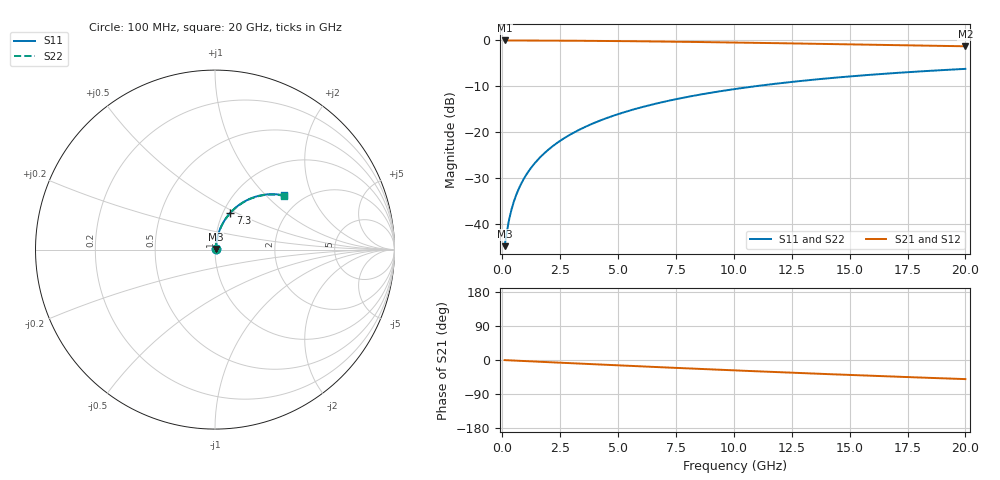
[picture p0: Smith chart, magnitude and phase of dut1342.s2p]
! Touchstone file exported from HFSS 2026.1.0
!  File:  C:/ffzhzh/LocalFiles/Ansys_Project_Files/temp_train_TMRDL_1342_1783165371_51560.aedt
!  Generated:  07:44:04 PM Jul  4, 2026
!  Design:  TMRDL
!  Project:  temp_train_TMRDL_1342_1783165371_51560
! Variables:
!  h_bsmrdl = 2um
!  h_ox = 20um
!  h_rdl = 5um
!  h_sub = 80um
!  h_tmrdl = 3.38um
!  h_tsv = 80um
!  h_via = 3um
!  l_bsmrdl = 300um
!  l_sub = 1132.64um
!  l_tmrdl = 732.64um
!  m_sub = 200um
!  pitch = 48.09um
!  r_tsv = 6um
!  s_tmrdl = 10um
!  w_bsmrdl = 18um
!  w_sub = 500um
!  w_tmrdl = 17.56um
!  x_tsv_center1 = 741.42um
!  x_tsv_center2 = 1059.42um
!  x_tsv_center3 = 1809.62um
!  x_tsv_center4 = 2127.62um
!  x_tsv_center5 = 2877.82um
!  x_tsv_center6 = 3195.82um
# GHz S MA R 50.000000
! Terminal data exported
! Port[1] = TM_RDL1_1_T1
! Port[2] = TM_RDL1_1_T2
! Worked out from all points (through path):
!   200 points, 100 MHz to 20 GHz, reference 50 ohm
!   highest |S21| = -0.04 dB at 100 MHz (marker M1); lowest = -1.3 dB at 20 GHz (marker M2)
!   group delay of S21, straight-line fit = 7.02 ps
!   lowest |S11| = -44.9 dB at 100 MHz (marker M3), VSWR 1.01, Z = 50.5 + j0.344 ohm
!   |S11| at or under -10 dB: start of sweep to 10.98 GHz
!   |S22| runs from -44.9 to -6.2 dB; largest |S21 - S12| = 2.1e-15
!   S11 on the Smith chart (normalised r, x): 100 MHz: 1.01, +0.01; 7.3 GHz: 1.08, +0.47; 20 GHz: 1.61, +1.28
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0.1  0.005658 37.1  0.9955 -0.3  0.9955 -0.3  0.005658 37.1
! Gamma 0 0 0 0
! Port Impedance 50 0 50 0
0.2  0.00824 55.3  0.9954 -0.6  0.9954 -0.6  0.00824 55.3
0.3  0.01121 63.9  0.9952 -0.9  0.9952 -0.9  0.01121 63.9
0.4  0.01428 68.6  0.995 -1.2  0.995 -1.2  0.01428 68.6
0.5  0.01737 71.6  0.9948 -1.5  0.9948 -1.5  0.01738 71.6
0.6  0.02047 73.6  0.9946 -1.7  0.9946 -1.7  0.02048 73.6
0.8  0.02669 76.1  0.9943 -2.3  0.9943 -2.3  0.0267 76.0
1.1  0.03606 78.0  0.9939 -3.2  0.9939 -3.2  0.03606 77.9
1.3  0.04232 78.6  0.9935 -3.7  0.9935 -3.7  0.04233 78.6
1.6  0.05174 79.0  0.9929 -4.6  0.9929 -4.6  0.05174 79.0
2.1  0.06743 78.9  0.9918 -6.0  0.9918 -6.0  0.06743 78.9
2.7  0.08617 78.2  0.9901 -7.7  0.9901 -7.7  0.08617 78.1
3.5  0.1109 76.7  0.9872 -9.9  0.9872 -9.9  0.1109 76.6
4.2  0.1322 75.1  0.9842 -11.9  0.9842 -11.9  0.1323 75.0
5  0.1562 73.2  0.9801 -14.1  0.9801 -14.1  0.1562 73.1
6.8  0.2081 68.7  0.9693 -19.0  0.9693 -19.0  0.2081 68.5
7.3  0.222 67.4  0.9659 -20.3  0.9659 -20.3  0.222 67.3
8.6  0.2569 64.2  0.9565 -23.7  0.9565 -23.7  0.2569 64.0
10.1  0.295 60.5  0.9447 -27.6  0.9447 -27.6  0.2951 60.2
13.4  0.3706 52.6  0.9167 -35.7  0.9167 -35.7  0.3706 52.3
16.7  0.4345 45.2  0.8878 -43.3  0.8878 -43.3  0.4346 44.9
20  0.4874 38.3  0.86 -50.4  0.86 -50.4  0.4875 37.8
